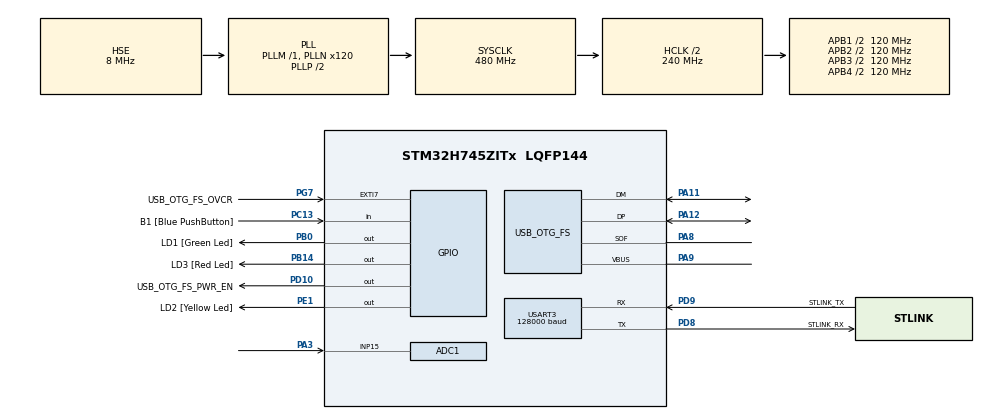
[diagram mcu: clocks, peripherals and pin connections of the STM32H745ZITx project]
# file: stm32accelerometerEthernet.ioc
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ADC1.Channel-0\#ChannelRegularConversion=ADC_CHANNEL_15
ADC1.NbrOfConversionFlag=1
ADC1.OffsetNumber-0\#ChannelRegularConversion=ADC_OFFSET_NONE
ADC1.OffsetSignedSaturation-0\#ChannelRegularConversion=DISABLE
ADC1.Rank-0\#ChannelRegularConversion=1
ADC1.Resolution=ADC_RESOLUTION_8B
ADC1.SamplingTime-0\#ChannelRegularConversion=ADC_SAMPLETIME_1CYCLE_5
ADC1.master=1
CortexM4.IPs=FATFS_M4\:I,FREERTOS_M4\:I,IWDG2\:I,RCC,WWDG2\:I,DMA,BDMA,MDMA,NVIC2\:I,USART3,DEBUG,USB_DEVICE_M4\:I,USB_HOST_M4\:I,PDM2PCM_M4\:I,PWR,RESMGR_UTILITY,SYS_M4\:I,CORTEX_M4\:I,OPENAMP_M4\:I,VREFBUF
CortexM7.IPs=FATFS_M7\:I,FREERTOS_M7\:I,IWDG1\:I,RCC\:I,WWDG1\:I,DMA\:I,BDMA\:I,MDMA\:I,NVIC1\:I,SYS\:I,USART3\:I,USB_OTG_FS\:I,ETH\:I,CORTEX_M7\:I,DEBUG\:I,USB_DEVICE_M7\:I,USB_HOST_M7\:I,PDM2PCM_M7\:I,PWR\:I,RESMGR_UTILITY\:I,OPENAMP_M7\:I,VREFBUF\:I,ADC1\:I
CortexM7.Pins=PC13,PB0,PB14,PE1
Mcu.Family=STM32H7
Mcu.Name=STM32H745ZITx
Mcu.Package=LQFP144
NVIC1.PriorityGroup=NVIC_PRIORITYGROUP_4
NVIC2.PriorityGroup=NVIC_PRIORITYGROUP_4
PA1.PinAttribute=CortexM7
PA1.Signal=ETH_REF_CLK
PA11.Mode=Device_Only
PA11.PinAttribute=CortexM7
PA11.Signal=USB_OTG_FS_DM
PA12.Mode=Device_Only
PA12.PinAttribute=CortexM7
PA12.Signal=USB_OTG_FS_DP
PA2.PinAttribute=CortexM7
PA2.Signal=ETH_MDIO
PA3.PinAttribute=CortexM7
PA3.Signal=ADCx_INP15
PA7.PinAttribute=CortexM7
PA7.Signal=ETH_CRS_DV
PA8.Mode=Activate_SOF_FS
PA8.PinAttribute=CortexM7
PA8.Signal=USB_OTG_FS_SOF
PA9.Mode=Activate_VBUS
PA9.PinAttribute=CortexM7
PA9.Signal=USB_OTG_FS_VBUS
PB0.GPIO_Label=LD1 [Green Led]
PB0.PinAttribute=CortexM7
PB0.Signal=GPIO_Output
PB13.PinAttribute=CortexM7
PB13.Signal=ETH_TXD1
PB14.GPIO_Label=LD3 [Red Led]
PB14.PinAttribute=CortexM7
PB14.Signal=GPIO_Output
PC1.PinAttribute=CortexM7
PC1.Signal=ETH_MDC
PC13.GPIO_Label=B1 [Blue PushButton]
PC13.PinAttribute=CortexM7
PC13.Signal=GPIO_Input
PC14-OSC32_IN\ (OSC32_IN).Mode=LSE-External-Oscillator
PC14-OSC32_IN\ (OSC32_IN).PinAttribute=CortexM7
PC14-OSC32_IN\ (OSC32_IN).Signal=RCC_OSC32_IN
PC15-OSC32_OUT\ (OSC32_OUT).Mode=LSE-External-Oscillator
PC15-OSC32_OUT\ (OSC32_OUT).PinAttribute=CortexM7
PC15-OSC32_OUT\ (OSC32_OUT).Signal=RCC_OSC32_OUT
PC4.PinAttribute=CortexM7
PC4.Signal=ETH_RXD0
PC5.PinAttribute=CortexM7
PC5.Signal=ETH_RXD1
PD10.GPIO_Label=USB_OTG_FS_PWR_EN
PD10.PinAttribute=Free
PD10.Signal=GPIO_Output
PD8.GPIO_Label=STLINK_RX
PD8.Mode=Asynchronous
PD8.PinAttribute=CortexM7
PD8.Signal=USART3_TX
PD9.GPIO_Label=STLINK_TX
PD9.Mode=Asynchronous
PD9.PinAttribute=CortexM7
PD9.Signal=USART3_RX
PE1.GPIO_Label=LD2 [Yellow Led]
PE1.PinAttribute=CortexM7
PE1.Signal=GPIO_Output
PG11.PinAttribute=CortexM7
PG11.Signal=ETH_TX_EN
PG13.PinAttribute=CortexM7
PG13.Signal=ETH_TXD0
PG7.GPIO_Label=USB_OTG_FS_OVCR
PG7.PinAttribute=Free
PG7.Signal=GPXTI7
PH0-OSC_IN\ (PH0).Mode=HSE-External-Clock-Source
PH0-OSC_IN\ (PH0).PinAttribute=CortexM7
PH0-OSC_IN\ (PH0).Signal=RCC_OSC_IN
PH1-OSC_OUT\ (PH1).PinAttribute=CortexM7
PH1-OSC_OUT\ (PH1).Signal=RCC_OSC_OUT
ProjectManager.HeapSize=M4-0x200,M7-0x200
ProjectManager.StackSize=M4-0x400,M7-0x400
ProjectManager.TargetToolchain=STM32CubeIDE
RCC.ADCFreq_Value=76000000
RCC.APB1Freq_Value=120000000
RCC.APB2Freq_Value=120000000
RCC.APB3Freq_Value=120000000
RCC.APB4Freq_Value=120000000
RCC.CortexFreq_Value=480000000
RCC.D1PPRE=RCC_APB3_DIV2
RCC.D2PPRE1=RCC_APB1_DIV2
RCC.D2PPRE2=RCC_APB2_DIV2
RCC.D3PPRE=RCC_APB4_DIV2
RCC.DIVM1=1
RCC.DIVM2=1
RCC.DIVM3=1
RCC.DIVN1=120
RCC.DIVN2=19
RCC.DIVN3=24
RCC.DIVQ3=4
RCC.HCLKFreq_Value=240000000
RCC.HPRE=RCC_HCLK_DIV2
RCC.HSE_VALUE=8000000
RCC.PLL2FRACN=0
RCC.PLL3FRACN=0
RCC.PLLFRACN=0
RCC.SYSCLKFreq_VALUE=480000000
RCC.SYSCLKSource=RCC_SYSCLKSOURCE_PLLCLK
RCC.SupplySource=PWR_DIRECT_SMPS_SUPPLY
RCC.USBCLockSelection=RCC_USBCLKSOURCE_PLL3
RCC.USBFreq_Value=48000000
SH.ADCx_INP15.0=ADC1_INP15,IN15-Single-Ended
USART3.BaudRate=128000
USART3.VirtualMode-Asynchronous=VM_ASYNC
USB_OTG_FS.VirtualMode=Device_Only
VP_SYS_M4_VS_Systick.Mode=SysTick
board=NUCLEO-H745ZI-Q

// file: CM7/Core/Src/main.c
/* USER CODE BEGIN Header */
/**
  ******************************************************************************
  * @file           : main.c
  * @brief          : Main program body
  ******************************************************************************
  * @attention
  *
  * <h2><center>&copy; Copyright (c) 2021 STMicroelectronics.
  * All rights reserved.</center></h2>
  *
  * This software component is licensed by ST under BSD 3-Clause license,
  * the "License"; You may not use this file except in compliance with the
  * License. You may obtain a copy of the License at:
  *                        opensource.org/licenses/BSD-3-Clause
  *
  ******************************************************************************
  */
/* USER CODE END Header */
#include "main.h"

/* USER CODE BEGIN Includes */
#include <string.h>
/* USER CODE END Includes */

/* USER CODE BEGIN PD */

#ifndef HSEM_ID_0
#define HSEM_ID_0 (0U) /* HW semaphore 0*/
#endif
/* USER CODE END PD */

ADC_HandleTypeDef hadc1;

UART_HandleTypeDef huart3;

PCD_HandleTypeDef hpcd_USB_OTG_FS;

void SystemClock_Config(void);
static void MX_GPIO_Init(void);
static void MX_USART3_UART_Init(void);
static void MX_USB_OTG_FS_PCD_Init(void);
static void MX_ADC1_Init(void);

int main(void)
{
/* USER CODE BEGIN Boot_Mode_Sequence_0 */
  int32_t timeout;
/* USER CODE END Boot_Mode_Sequence_0 */

/* USER CODE BEGIN Boot_Mode_Sequence_1 */
  /* Wait until CPU2 boots and enters in stop mode or timeout*/

/* USER CODE END Boot_Mode_Sequence_1 */
  /* MCU Configuration--------------------------------------------------------*/

  /* Reset of all peripherals, Initializes the Flash interface and the Systick. */
  HAL_Init();

  /* Configure the system clock */
  SystemClock_Config();
/* USER CODE BEGIN Boot_Mode_Sequence_2 */

/* USER CODE END Boot_Mode_Sequence_2 */

  /* Initialize all configured peripherals */
  MX_GPIO_Init();
  MX_USART3_UART_Init();
  MX_USB_OTG_FS_PCD_Init();
  MX_ADC1_Init();
  /* USER CODE BEGIN 2 */

  HAL_GPIO_WritePin(GPIOB,GPIO_PIN_0,GPIO_PIN_RESET);//GREEN
  HAL_GPIO_WritePin(GPIOB,GPIO_PIN_14,GPIO_PIN_SET);//RED
  HAL_GPIO_WritePin(GPIOE,GPIO_PIN_1,GPIO_PIN_RESET);//YELLOW
  HAL_Delay(1000);

  HAL_GPIO_TogglePin(GPIOE,GPIO_PIN_1);
  HAL_Delay(500);

  HAL_GPIO_TogglePin(GPIOB,GPIO_PIN_0);
  HAL_GPIO_TogglePin(GPIOB,GPIO_PIN_14);
  HAL_GPIO_TogglePin(GPIOE,GPIO_PIN_1);

  char msg[1024];

  int index = 0;
  for(index=0;index<1024;index++)
	  msg[index] = 0;
  index = 0;
  /* USER CODE END 2 */

  /* Infinite loop */
  /* USER CODE BEGIN WHILE */
  while (1)
  {
	  /*HAL_GPIO_TogglePin(GPIOB,GPIO_PIN_0);
	  HAL_GPIO_TogglePin(GPIOB,GPIO_PIN_14);
	  HAL_GPIO_TogglePin(GPIOE,GPIO_PIN_1);
	  HAL_Delay(500);*/
	  HAL_ADC_Start(&hadc1);
	  HAL_ADC_PollForConversion(&hadc1, 1);

	  msg[index] = HAL_ADC_GetValue(&hadc1);
	  if(index>=1023)
	  {
		  HAL_UART_Transmit(&huart3, msg, 1024, 2000);
		  index = 0;
	  }
	  else
	  {
		  ++index;
	  }

	  HAL_Delay(1);
	  //HAL_UART_Transmit(&huart3, "Hello world!1234", 16, HAL_MAX_DELAY);
	  //HAL_Delay(500);

    /* USER CODE END WHILE */

  }
}

void SystemClock_Config(void)
{
  RCC_OscInitTypeDef RCC_OscInitStruct = {0};
  RCC_ClkInitTypeDef RCC_ClkInitStruct = {0};

  /** Supply configuration update enable
  */
  HAL_PWREx_ConfigSupply(PWR_DIRECT_SMPS_SUPPLY);
  /** Configure the main internal regulator output voltage
  */
  __HAL_PWR_VOLTAGESCALING_CONFIG(PWR_REGULATOR_VOLTAGE_SCALE0);

  while(!__HAL_PWR_GET_FLAG(PWR_FLAG_VOSRDY)) {}
  /** Macro to configure the PLL clock source
  */
  __HAL_RCC_PLL_PLLSOURCE_CONFIG(RCC_PLLSOURCE_HSE);
  /** Initializes the RCC Oscillators according to the specified parameters
  * in the RCC_OscInitTypeDef structure.
  */
  RCC_OscInitStruct.OscillatorType = RCC_OSCILLATORTYPE_HSE;
  RCC_OscInitStruct.HSEState = RCC_HSE_BYPASS;
  RCC_OscInitStruct.PLL.PLLState = RCC_PLL_ON;
  RCC_OscInitStruct.PLL.PLLSource = RCC_PLLSOURCE_HSE;
  RCC_OscInitStruct.PLL.PLLM = 1;
  RCC_OscInitStruct.PLL.PLLN = 120;
  RCC_OscInitStruct.PLL.PLLP = 2;
  RCC_OscInitStruct.PLL.PLLQ = 2;
  RCC_OscInitStruct.PLL.PLLR = 2;
  RCC_OscInitStruct.PLL.PLLRGE = RCC_PLL1VCIRANGE_3;
  RCC_OscInitStruct.PLL.PLLVCOSEL = RCC_PLL1VCOWIDE;
  RCC_OscInitStruct.PLL.PLLFRACN = 0;
  if (HAL_RCC_OscConfig(&RCC_OscInitStruct) != HAL_OK)
  {
    Error_Handler();
  }
  /** Initializes the CPU, AHB and APB buses clocks
  */
  RCC_ClkInitStruct.ClockType = RCC_CLOCKTYPE_HCLK|RCC_CLOCKTYPE_SYSCLK
                              |RCC_CLOCKTYPE_PCLK1|RCC_CLOCKTYPE_PCLK2
                              |RCC_CLOCKTYPE_D3PCLK1|RCC_CLOCKTYPE_D1PCLK1;
  RCC_ClkInitStruct.SYSCLKSource = RCC_SYSCLKSOURCE_PLLCLK;
  RCC_ClkInitStruct.SYSCLKDivider = RCC_SYSCLK_DIV1;
  RCC_ClkInitStruct.AHBCLKDivider = RCC_HCLK_DIV2;
  RCC_ClkInitStruct.APB3CLKDivider = RCC_APB3_DIV2;
  RCC_ClkInitStruct.APB1CLKDivider = RCC_APB1_DIV2;
  RCC_ClkInitStruct.APB2CLKDivider = RCC_APB2_DIV2;
  RCC_ClkInitStruct.APB4CLKDivider = RCC_APB4_DIV2;

  if (HAL_RCC_ClockConfig(&RCC_ClkInitStruct, FLASH_LATENCY_4) != HAL_OK)
  {
    Error_Handler();
  }
}

static void MX_ADC1_Init(void)
{

  ADC_MultiModeTypeDef multimode = {0};
  ADC_ChannelConfTypeDef sConfig = {0};

  /** Common config
  */
  hadc1.Instance = ADC1;
  hadc1.Init.ClockPrescaler = ADC_CLOCK_ASYNC_DIV1;
  hadc1.Init.Resolution = ADC_RESOLUTION_8B;
  hadc1.Init.ScanConvMode = ADC_SCAN_DISABLE;
  hadc1.Init.EOCSelection = ADC_EOC_SINGLE_CONV;
  hadc1.Init.LowPowerAutoWait = DISABLE;
  hadc1.Init.ContinuousConvMode = DISABLE;
  hadc1.Init.NbrOfConversion = 1;
  hadc1.Init.DiscontinuousConvMode = DISABLE;
  hadc1.Init.ExternalTrigConv = ADC_SOFTWARE_START;
  hadc1.Init.ExternalTrigConvEdge = ADC_EXTERNALTRIGCONVEDGE_NONE;
  hadc1.Init.ConversionDataManagement = ADC_CONVERSIONDATA_DR;
  hadc1.Init.Overrun = ADC_OVR_DATA_PRESERVED;
  hadc1.Init.LeftBitShift = ADC_LEFTBITSHIFT_NONE;
  hadc1.Init.OversamplingMode = DISABLE;
  if (HAL_ADC_Init(&hadc1) != HAL_OK)
  {
    Error_Handler();
  }
  /** Configure the ADC multi-mode
  */
  multimode.Mode = ADC_MODE_INDEPENDENT;
  if (HAL_ADCEx_MultiModeConfigChannel(&hadc1, &multimode) != HAL_OK)
  {
    Error_Handler();
  }
  /** Configure Regular Channel
  */
  sConfig.Channel = ADC_CHANNEL_15;
  sConfig.Rank = ADC_REGULAR_RANK_1;
  sConfig.SamplingTime = ADC_SAMPLETIME_1CYCLE_5;
  sConfig.SingleDiff = ADC_SINGLE_ENDED;
  sConfig.OffsetNumber = ADC_OFFSET_NONE;
  sConfig.Offset = 0;
  sConfig.OffsetSignedSaturation = DISABLE;
  if (HAL_ADC_ConfigChannel(&hadc1, &sConfig) != HAL_OK)
  {
    Error_Handler();
  }

}

static void MX_USART3_UART_Init(void)
{

  huart3.Instance = USART3;
  huart3.Init.BaudRate = 128000;
  huart3.Init.WordLength = UART_WORDLENGTH_8B;
  huart3.Init.StopBits = UART_STOPBITS_1;
  huart3.Init.Parity = UART_PARITY_NONE;
  huart3.Init.Mode = UART_MODE_TX_RX;
  huart3.Init.HwFlowCtl = UART_HWCONTROL_NONE;
  huart3.Init.OverSampling = UART_OVERSAMPLING_16;
  huart3.Init.OneBitSampling = UART_ONE_BIT_SAMPLE_DISABLE;
  huart3.Init.ClockPrescaler = UART_PRESCALER_DIV1;
  huart3.AdvancedInit.AdvFeatureInit = UART_ADVFEATURE_NO_INIT;
  if (HAL_UART_Init(&huart3) != HAL_OK)
  {
    Error_Handler();
  }
  if (HAL_UARTEx_SetTxFifoThreshold(&huart3, UART_TXFIFO_THRESHOLD_1_8) != HAL_OK)
  {
    Error_Handler();
  }
  if (HAL_UARTEx_SetRxFifoThreshold(&huart3, UART_RXFIFO_THRESHOLD_1_8) != HAL_OK)
  {
    Error_Handler();
  }
  if (HAL_UARTEx_DisableFifoMode(&huart3) != HAL_OK)
  {
    Error_Handler();
  }

}

static void MX_USB_OTG_FS_PCD_Init(void)
{

  hpcd_USB_OTG_FS.Instance = USB_OTG_FS;
  hpcd_USB_OTG_FS.Init.dev_endpoints = 9;
  hpcd_USB_OTG_FS.Init.speed = PCD_SPEED_FULL;
  hpcd_USB_OTG_FS.Init.dma_enable = DISABLE;
  hpcd_USB_OTG_FS.Init.phy_itface = PCD_PHY_EMBEDDED;
  hpcd_USB_OTG_FS.Init.Sof_enable = DISABLE;
  hpcd_USB_OTG_FS.Init.low_power_enable = DISABLE;
  hpcd_USB_OTG_FS.Init.lpm_enable = DISABLE;
  hpcd_USB_OTG_FS.Init.battery_charging_enable = ENABLE;
  hpcd_USB_OTG_FS.Init.vbus_sensing_enable = ENABLE;
  hpcd_USB_OTG_FS.Init.use_dedicated_ep1 = DISABLE;
  if (HAL_PCD_Init(&hpcd_USB_OTG_FS) != HAL_OK)
  {
    Error_Handler();
  }

}

static void MX_GPIO_Init(void)
{
  GPIO_InitTypeDef GPIO_InitStruct = {0};

  /* GPIO Ports Clock Enable */
  __HAL_RCC_GPIOC_CLK_ENABLE();
  __HAL_RCC_GPIOH_CLK_ENABLE();
  __HAL_RCC_GPIOA_CLK_ENABLE();
  __HAL_RCC_GPIOB_CLK_ENABLE();
  __HAL_RCC_GPIOD_CLK_ENABLE();
  __HAL_RCC_GPIOG_CLK_ENABLE();
  __HAL_RCC_GPIOE_CLK_ENABLE();

  /*Configure GPIO pin Output Level */
  HAL_GPIO_WritePin(GPIOB, LD1_Pin|LD3_Pin, GPIO_PIN_RESET);

  /*Configure GPIO pin Output Level */
  HAL_GPIO_WritePin(LD2_GPIO_Port, LD2_Pin, GPIO_PIN_RESET);

  /*Configure GPIO pin : B1_Pin */
  GPIO_InitStruct.Pin = B1_Pin;
  GPIO_InitStruct.Mode = GPIO_MODE_INPUT;
  GPIO_InitStruct.Pull = GPIO_NOPULL;
  HAL_GPIO_Init(B1_GPIO_Port, &GPIO_InitStruct);

  /*Configure GPIO pins : PC1 PC4 PC5 */
  GPIO_InitStruct.Pin = GPIO_PIN_1|GPIO_PIN_4|GPIO_PIN_5;
  GPIO_InitStruct.Mode = GPIO_MODE_AF_PP;
  GPIO_InitStruct.Pull = GPIO_NOPULL;
  GPIO_InitStruct.Speed = GPIO_SPEED_FREQ_LOW;
  GPIO_InitStruct.Alternate = GPIO_AF11_ETH;
  HAL_GPIO_Init(GPIOC, &GPIO_InitStruct);

  /*Configure GPIO pins : PA1 PA2 PA7 */
  GPIO_InitStruct.Pin = GPIO_PIN_1|GPIO_PIN_2|GPIO_PIN_7;
  GPIO_InitStruct.Mode = GPIO_MODE_AF_PP;
  GPIO_InitStruct.Pull = GPIO_NOPULL;
  GPIO_InitStruct.Speed = GPIO_SPEED_FREQ_LOW;
  GPIO_InitStruct.Alternate = GPIO_AF11_ETH;
  HAL_GPIO_Init(GPIOA, &GPIO_InitStruct);

  /*Configure GPIO pins : LD1_Pin LD3_Pin */
  GPIO_InitStruct.Pin = LD1_Pin|LD3_Pin;
  GPIO_InitStruct.Mode = GPIO_MODE_OUTPUT_PP;
  GPIO_InitStruct.Pull = GPIO_NOPULL;
  GPIO_InitStruct.Speed = GPIO_SPEED_FREQ_LOW;
  HAL_GPIO_Init(GPIOB, &GPIO_InitStruct);

  /*Configure GPIO pin : PB13 */
  GPIO_InitStruct.Pin = GPIO_PIN_13;
  GPIO_InitStruct.Mode = GPIO_MODE_AF_PP;
  GPIO_InitStruct.Pull = GPIO_NOPULL;
  GPIO_InitStruct.Speed = GPIO_SPEED_FREQ_LOW;
  GPIO_InitStruct.Alternate = GPIO_AF11_ETH;
  HAL_GPIO_Init(GPIOB, &GPIO_InitStruct);

  /*Configure GPIO pins : PG11 PG13 */
  GPIO_InitStruct.Pin = GPIO_PIN_11|GPIO_PIN_13;
  GPIO_InitStruct.Mode = GPIO_MODE_AF_PP;
  GPIO_InitStruct.Pull = GPIO_NOPULL;
  GPIO_InitStruct.Speed = GPIO_SPEED_FREQ_LOW;
  GPIO_InitStruct.Alternate = GPIO_AF11_ETH;
  HAL_GPIO_Init(GPIOG, &GPIO_InitStruct);

  /*Configure GPIO pin : LD2_Pin */
  GPIO_InitStruct.Pin = LD2_Pin;
  GPIO_InitStruct.Mode = GPIO_MODE_OUTPUT_PP;
  GPIO_InitStruct.Pull = GPIO_NOPULL;
  GPIO_InitStruct.Speed = GPIO_SPEED_FREQ_LOW;
  HAL_GPIO_Init(LD2_GPIO_Port, &GPIO_InitStruct);

}

void Error_Handler(void)
{
  __disable_irq();
  while (1)
  {
  }
}

/************************ (C) COPYRIGHT STMicroelectronics *****END OF FILE****/
